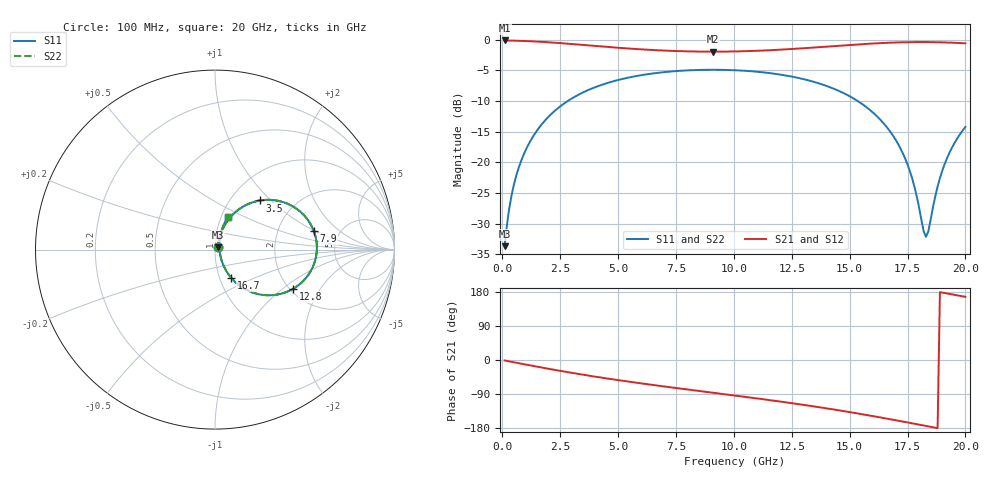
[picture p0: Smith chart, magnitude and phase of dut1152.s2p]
! Touchstone file exported from HFSS 2026.1.0
!  File:  C:/ffzhzh/LocalFiles/Ansys_Project_Files/temp_train_TSV_RDL_1152_1783311012_5512.aedt
!  Generated:  12:18:51 PM Jul  6, 2026
!  Design:  TSV_RDL
!  Project:  temp_train_TSV_RDL_1152_1783311012_5512
! Variables:
!  h_bsmrdl = 4.32um
!  h_ox = 20um
!  h_rdl = 5um
!  h_sub = 52.15um
!  h_tmrdl = 5.51um
!  h_tsv = 52.15um
!  h_via = 3um
!  l_bsmrdl = 200.15um
!  l_sub = 3306.07um
!  l_tmrdl = 558.06um
!  m_sub = 200um
!  pitch = 44.21um
!  r_tsv = 12.01um
!  s_tmrdl = 10um
!  w_bsmrdl = 11.07um
!  w_sub = 500um
!  w_tmrdl = 13.39um
!  x_tsv_center1 = 564.755um
!  x_tsv_center2 = 775.975um
!  x_tsv_center3 = 1347.425um
!  x_tsv_center4 = 1558.645um
!  x_tsv_center5 = 2130.095um
!  x_tsv_center6 = 2341.315um
# GHz S MA R 50.000000
! Terminal data exported
! Port[1] = TM_RDL1_1_T1
! Port[2] = TM_RDL5_1_T1
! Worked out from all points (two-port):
!   200 points, 100 MHz to 20 GHz, reference 50 ohm
!   highest |S21| = -0.14 dB at 100 MHz (marker M1); lowest = -2.0 dB at 9.1 GHz (marker M2)
!   |S21| within 3 dB of the highest: start of sweep to end of sweep
!   lowest |S11| = -33.7 dB at 100 MHz (marker M3), VSWR 1.04, Z = 51.7 + j1.31 ohm
!   |S11| at or under -10 dB: start of sweep to 2.831 GHz; 15.34 GHz to end of sweep
!   |S22| runs from -33.7 to -4.9 dB; largest |S21 - S12| = 1.7e-14
!   S11 on the Smith chart (normalised r, x): 100 MHz: 1.03, +0.03; 3.5 GHz: 1.36, +0.86; 7.9 GHz: 3.21, +0.98; 12.8 GHz: 2.07, -1.19; 16.7 GHz: 1.14, -0.37; 20 GHz: 1.08, +0.40
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0.1  0.02074 37.7  0.9838 -1.2  0.9838 -1.2  0.02074 37.7
! Gamma 0 0 0 0
! Port Impedance 50 0 50 0
0.3  0.04205 62.6  0.9823 -3.6  0.9823 -3.6  0.04205 62.6
0.5  0.06559 68.3  0.9802 -6.0  0.9802 -6.0  0.06559 68.3
1.1  0.1362 68.9  0.9716 -13.0  0.9716 -13.0  0.1362 68.9
2.1  0.2459 60.7  0.9481 -24.3  0.9481 -24.3  0.2459 60.7
3.5  0.3721 47.4  0.9043 -39.0  0.9043 -39.0  0.3721 47.4
6.8  0.5381 19.2  0.8168 -68.3  0.8168 -68.3  0.5381 19.3
7.9  0.5599 10.8  0.8026 -77.1  0.8026 -77.1  0.5599 10.8
9.1  0.5678 1.9  0.7973 -86.4  0.7973 -86.4  0.5678 1.9
10.1  0.5621 -5.6  0.801 -94.2  0.801 -94.2  0.5621 -5.6
12.8  0.4862 -26.8  0.8449 -116.5  0.8449 -116.5  0.4862 -26.8
13.4  0.4556 -31.8  0.86 -121.9  0.86 -121.9  0.4556 -31.8
15.3  0.3201 -48.6  0.9119 -140.5  0.9119 -140.5  0.3201 -48.5
16.7  0.1836 -60.0  0.9428 -155.7  0.9428 -155.7  0.1837 -60.0
17.6  0.08503 -60.8  0.9533 -165.9  0.9533 -165.9  0.0851 -60.6
17.9  0.05275 -53.1  0.9546 -169.4  0.9546 -169.4  0.05288 -52.8
18.2  0.02731 -19.5  0.9548 -172.9  0.9548 -172.9  0.02758 -19.2
18.3  0.02475 4.8  0.9545 -174.0  0.9545 -174.0  0.02506 4.8
18.4  0.02745 28.9  0.9542 -175.2  0.9542 -175.2  0.02773 28.6
18.8  0.06351 65.8  0.9516 -179.8  0.9516 -179.8  0.06364 65.6
19.1  0.09628 70.5  0.9483 176.8  0.9483 176.8  0.09636 70.3
20  0.1941 68.2  0.9324 166.6  0.9324 166.6  0.1941 68.1
